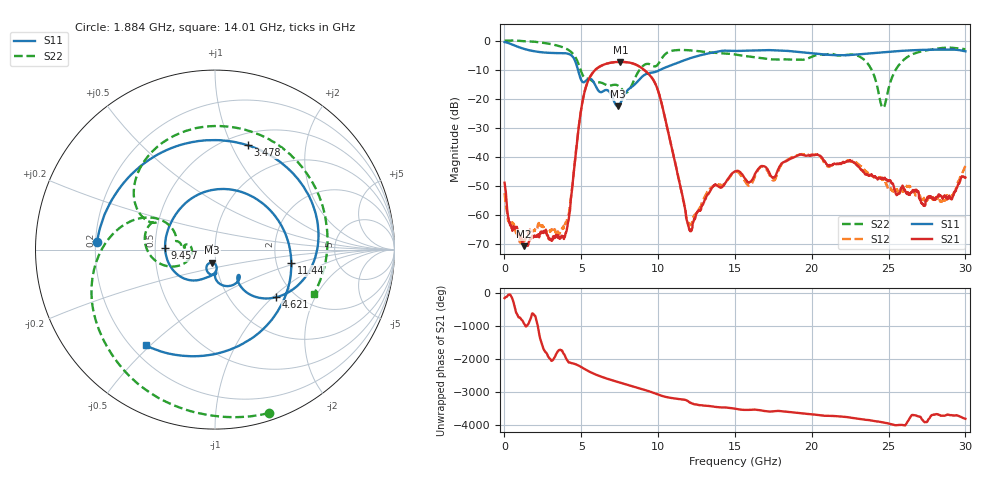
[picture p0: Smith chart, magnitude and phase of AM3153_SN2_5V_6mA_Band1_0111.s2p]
!Agilent Technologies,E8364B,MY43040894,A.07.50.67
!Agilent E8364B: A.07.50.67
!Date: Tuesday, May 12, 2020 09:44:47
!Correction: S11(Full 2 Port(1,2))
!S21(Full 2 Port(1,2))
!S12(Full 2 Port(1,2))
!S22(Full 2 Port(1,2))
!S2P File: Measurements: S11, S21, S12, S22:
# Hz S  dB  R 50
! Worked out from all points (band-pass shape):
!   1601 points, 10 MHz to 30 GHz, reference 50 ohm
!   highest |S21| = -7.33 dB at 7.545 GHz (marker M1); lowest = -70.7 dB at 1.285 GHz (marker M2)
!   |S21| within 3 dB of the highest: 5.864 GHz to 9.144 GHz (3.281 GHz wide, 43.7 % of centre)
!   lowest |S11| = -22.5 dB at 7.358 GHz (marker M3), VSWR 1.16, Z = 48 - j7.06 ohm
!   |S11| at or under -10 dB: 4.78 GHz to 10.16 GHz (5.376 GHz wide, 72 % of centre)
!   |S22| runs from -23.1 to 0.0 dB; largest |S21 - S12| = 0.0055
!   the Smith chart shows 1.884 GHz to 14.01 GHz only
!   S11 on the Smith chart (normalised r, x): 1.884 GHz: 0.21, +0.03; 3.478 GHz: 0.63, +1.16; 4.621 GHz: 1.61, -1.05; 9.457 GHz: 0.56, +0.01; 11.44 GHz: 2.42, -0.44; 14.01 GHz: 0.26, -0.48
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1e7  -0.52 -9.0  -48.84 -164.9  -52.43 155.5  -0.03 -2.1
1.284575e9  -2.88 -140.0  -70.66 140.9  -69.05 -19.7  -0.24 -48.9
1.884375e9  -3.62 176.5  -67.33 79.5  -65.19 -39.0  -0.37 -71.8
3.477594e9  -4.31 72.6  -67.43 30.8  -65.61 -90.1  -1.78 -136.1
4.620962e9  -7.29 -38.0  -39.70 -1.2  -39.49 -2.0  -5.74 163.7
5.014581e9  -13.74 -52.6  -22.93 -92.3  -22.93 -91.8  -10.95 152.3
7.35755e9  -22.54 -101.7  -7.36 -176.0  -7.37 -175.7  -15.39 171.4
7.544988e9  -21.55 -87.8  -7.33 158.7  -7.34 159.0  -16.16 169.3
8.594638e9  -14.47 -117.1  -8.34 16.4  -8.40 16.7  -11.82 -158.4
9.45685e9  -11.12 178.5  -11.90 -107.7  -11.91 -107.0  -8.15 160.1
1.001916e10  -10.36 126.1  -17.58 156.9  -17.60 157.6  -7.97 157.0
1.144369e10  -7.30 -9.8  -49.95 19.4  -49.89 20.3  -3.24 85.8
1.208098e10  -6.08 -47.9  -65.26 -85.7  -63.42 97.5  -3.35 56.3
1.401158e10  -3.63 -126.0  -50.44 134.3  -49.44 132.4  -4.36 -23.9
1.5005e10  -3.57 -159.0  -44.93 93.5  -45.20 90.5  -4.79 -63.9
1.796651e10  -3.41 111.2  -42.84 20.7  -43.25 24.2  -6.50 173.8
2.000958e10  -4.41 35.6  -39.39 -76.9  -39.21 -78.2  -5.53 28.6
2.132164e10  -4.97 -19.4  -42.79 -125.7  -42.78 -125.0  -4.57 -76.5
2.287738e10  -4.80 -84.8  -42.54 156.6  -41.82 155.9  -5.04 -162.8
2.501416e10  -3.87 -160.9  -48.29 4.9  -50.86 -0.2  -16.18 -86.4
2.728216e10  -3.20 134.9  -56.79 69.9  -54.63 121.1  -3.57 169.3
3e10  -3.69 75.5  -47.08 148.5  -43.13 161.4  -2.96 92.6
